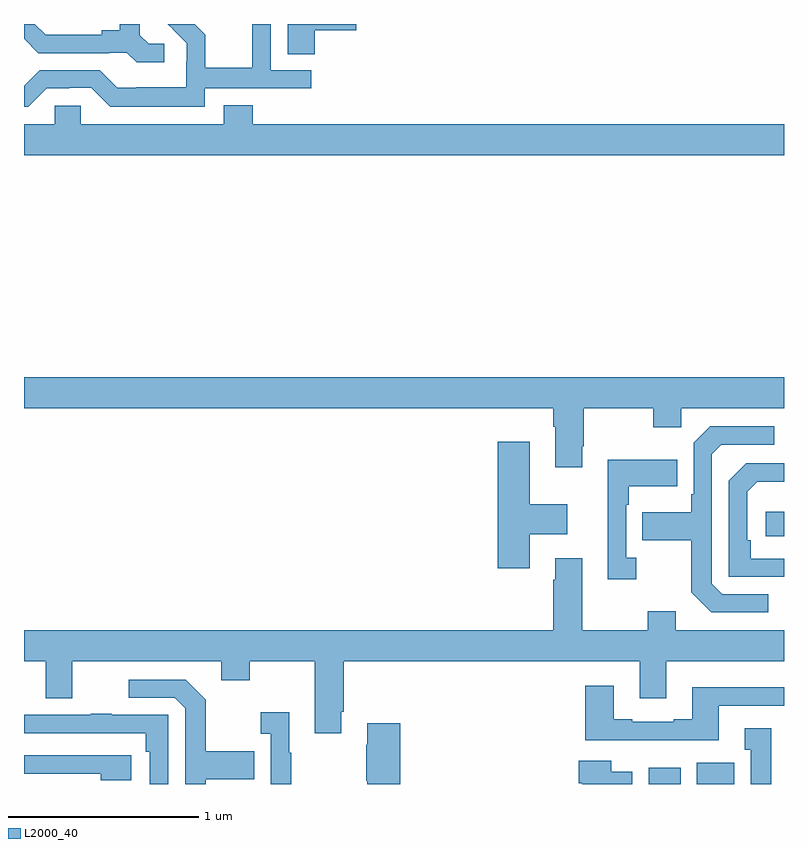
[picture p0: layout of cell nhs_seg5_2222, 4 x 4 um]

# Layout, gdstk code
import gdstk
lib = gdstk.Library(unit=1e-6, precision=1e-09)
def R(c, l, rs):  # rectangles x0, y0, x1, y1
    for r in rs: c.add(gdstk.rectangle(r[:2], r[2:], *l))
def P(c, l, *ps):  # polygons
    for p in ps: c.add(gdstk.Polygon(p, *l))
L2000_40 = (2000, 40)

nhs_seg5_2222 = lib.new_cell('nhs_seg5_2222')
R(nhs_seg5_2222, L2000_40, [(244.289,838.799,244.456,838.885), (244.541,838.799,244.738,838.912), (244.905,840.102,245,840.232)])
P(nhs_seg5_2222, L2000_40, [(241.95,842.46),(242.512,842.46),(242.512,842.556),(242.298,842.556),(242.298,842.799),(242.202,842.799),(242.202,842.792),(242.2,842.792),(242.2,842.569),(241.955,842.569),(241.955,842.743),(241.899,842.799),(241.757,842.799),(241.783,842.773),(241.782,842.772),(241.856,842.698),(241.856,842.601),(241.854,842.601),(241.854,842.467),(241.591,842.467),(241.591,842.463),(241.491,842.463),(241.398,842.556),(241.083,842.556),(241,842.473),(241,842.364),(241.023,842.364),(241.119,842.46),(241.238,842.46),(241.238,842.463),(241.353,842.463),(241.453,842.363),(241.95,842.363)],
  [(242.531,842.765),(242.749,842.765),(242.749,842.799),(242.387,842.799),(242.387,842.641),(242.531,842.641)],
  [(241.738,842.694),(241.656,842.694),(241.609,842.741),(241.609,842.799),(241.505,842.799),(241.505,842.765),(241.409,842.765),(241.409,842.742),(241.114,842.742),(241.057,842.799),(241,842.799),(241,842.722),(241.076,842.646),(241.448,842.646),(241.448,842.649),(241.542,842.649),(241.594,842.597),(241.738,842.597)],
  [(245,842.272),(242.204,842.272),(242.204,842.371),(242.051,842.371),(242.051,842.272),(241.299,842.272),(241.299,842.37),(241.161,842.37),(241.161,842.272),(241,842.272),(241,842.108),(245,842.108)],
  [(243.937,840.577),(243.945,840.577),(243.945,840.776),(244.312,840.776),(244.312,840.677),(244.458,840.677),(244.458,840.776),(245,840.776),(245,840.94),(241,840.94),(241,840.776),(243.785,840.776),(243.785,840.68),(243.797,840.68),(243.797,840.465),(243.937,840.465)],
  [(244.918,839.799),(244.674,839.799),(244.62,839.853),(244.62,840.534),(244.671,840.585),(244.948,840.585),(244.948,840.681),(244.611,840.681),(244.524,840.594),(244.524,840.325),(244.512,840.325),(244.512,840.229),(244.255,840.229),(244.255,840.082),(244.512,840.082),(244.512,839.809),(244.617,839.703),(244.918,839.703)],
  [(243.661,840.113),(243.859,840.113),(243.859,840.271),(243.661,840.271),(243.661,840.601),(243.494,840.601),(243.494,839.934),(243.661,839.934)],
  [(244.222,839.99),(244.17,839.99),(244.17,840.269),(244.183,840.269),(244.183,840.365),(244.439,840.365),(244.439,840.505),(244.073,840.505),(244.073,839.877),(244.222,839.877)],
  [(245,839.985),(244.826,839.985),(244.826,840.082),(244.806,840.082),(244.806,840.336),(244.859,840.389),(245,840.389),(245,840.486),(244.8,840.486),(244.71,840.396),(244.71,839.889),(245,839.889)],
  [(242.671,839.179),(242.684,839.179),(242.684,839.444),(244.241,839.444),(244.241,839.25),(244.381,839.25),(244.381,839.444),(245,839.444),(245,839.608),(244.429,839.608),(244.429,839.707),(244.282,839.707),(244.282,839.608),(243.937,839.608),(243.937,839.986),(243.797,839.986),(243.797,839.873),(243.785,839.873),(243.785,839.608),(241,839.608),(241,839.444),(241.115,839.444),(241.115,839.25),(241.255,839.25),(241.255,839.444),(242.039,839.444),(242.039,839.345),(242.187,839.345),(242.187,839.444),(242.531,839.444),(242.531,839.067),(242.671,839.067)],
  [(241.957,838.823),(242.213,838.823),(242.213,838.971),(241.957,838.971),(241.957,839.243),(241.851,839.349),(241.551,839.349),(241.551,839.253),(241.794,839.253),(241.848,839.199),(241.848,838.799),(241.957,838.799)],
  [(244.657,839.211),(245,839.211),(245,839.308),(244.517,839.308),(244.517,839.14),(244.421,839.14),(244.421,839.127),(244.201,839.127),(244.201,839.14),(244.105,839.14),(244.105,839.317),(243.953,839.317),(243.953,839.03),(244.657,839.03)],
  [(242.407,838.963),(242.395,838.963),(242.395,839.176),(242.247,839.176),(242.247,839.063),(242.298,839.063),(242.298,838.799),(242.407,838.799)],
  [(241.758,839.163),(241.463,839.163),(241.463,839.168),(241.351,839.168),(241.351,839.163),(241,839.163),(241,839.067),(241.642,839.067),(241.642,838.97),(241.662,838.97),(241.662,838.799),(241.758,838.799)],
  [(242.98,839.119),(242.807,839.119),(242.807,839.006),(242.8,839.006),(242.8,838.817),(242.807,838.817),(242.807,838.799),(242.98,838.799)],
  [(244.933,839.092),(244.793,839.092),(244.793,838.979),(244.826,838.979),(244.826,838.799),(244.933,838.799)],
  [(241.564,838.95),(241,838.95),(241,838.854),(241.403,838.854),(241.403,838.82),(241.564,838.82)],
  [(244.201,838.864),(244.09,838.864),(244.09,838.921),(243.92,838.921),(243.92,838.803),(243.938,838.803),(243.938,838.799),(244.201,838.799)])

lib.write_gds('nhs_seg5_2222.gds')
